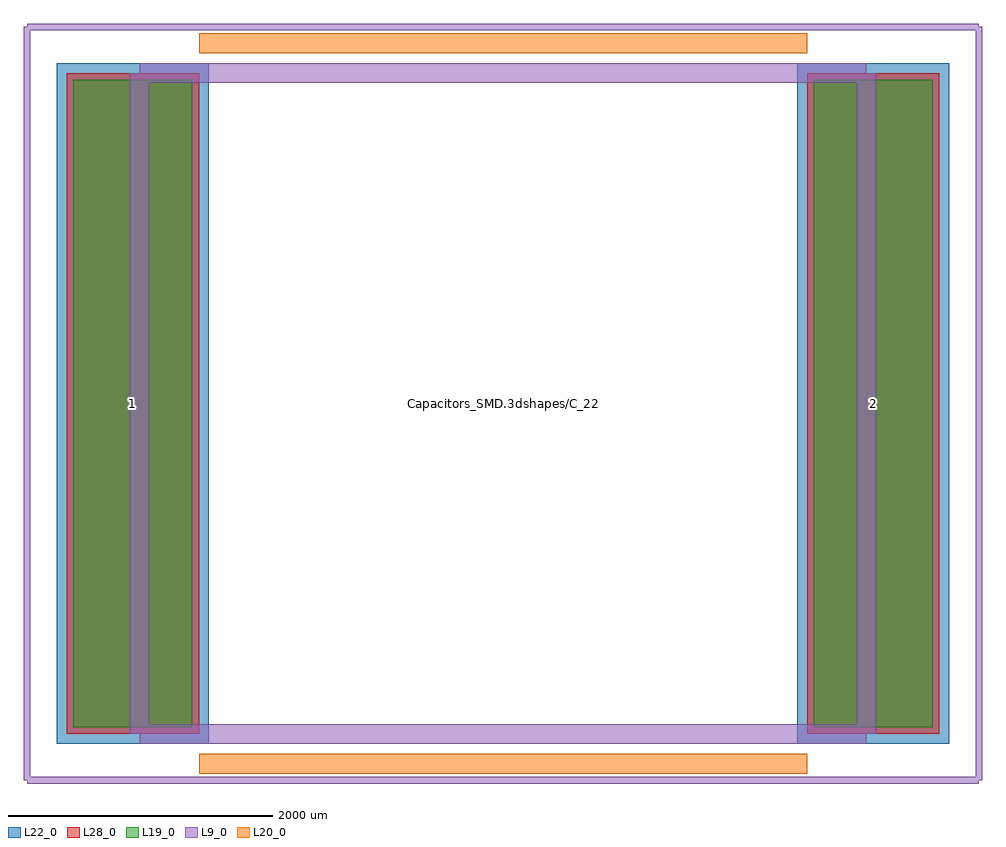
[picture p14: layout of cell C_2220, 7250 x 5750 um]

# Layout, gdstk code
import gdstk
lib = gdstk.Library(unit=1e-6, precision=1e-09)
def R(c, l, rs):  # rectangles x0, y0, x1, y1
    for r in rs: c.add(gdstk.rectangle(r[:2], r[2:], *l))
L9_0 = (9, 0)
L19_0 = (19, 0)
L20_0 = (20, 0)
L22_0 = (22, 0)
L28_0 = (28, 0)

c_2220 = lib.new_cell('C_2220')
R(c_2220, L19_0, [(-3250,-2450,-2350,2450), (2350,-2450,3250,2450)])
R(c_2220, L22_0, [(-3375,-2575,-2225,2575), (2225,-2575,3375,2575)])
R(c_2220, L28_0, [(-3300,-2500,-2300,2500), (2300,-2500,3300,2500)])
c_2220.add(gdstk.FlexPath([(-2300,-2725),(2300,-2725)], 149.998, ends="flush", simple_path=True, layer=20, datatype=0))  # L20_0
c_2220.add(gdstk.FlexPath([(2300,2725),(-2300,2725)], 149.998, ends="flush", simple_path=True, layer=20, datatype=0))  # L20_0
c_2220.add(gdstk.FlexPath([(3600,2850),(3600,-2850)], 50, ends="flush", simple_path=True, layer=9, datatype=0))  # L9_0
c_2220.add(gdstk.FlexPath([(-3600,2850),(-3600,-2850)], 50, ends="flush", simple_path=True, layer=9, datatype=0))  # L9_0
c_2220.add(gdstk.FlexPath([(-3600,-2850),(3600,-2850)], 50, ends="flush", simple_path=True, layer=9, datatype=0))  # L9_0
c_2220.add(gdstk.FlexPath([(-3600,2850),(3600,2850)], 50, ends="flush", simple_path=True, layer=9, datatype=0))  # L9_0
c_2220.add(gdstk.FlexPath([(-2750,2500),(2750,2500)], 149.998, ends="flush", simple_path=True, layer=9, datatype=0))  # L9_0
c_2220.add(gdstk.FlexPath([(2750,2500),(2750,-2500)], 149.998, ends="flush", simple_path=True, layer=9, datatype=0))  # L9_0
c_2220.add(gdstk.FlexPath([(2750,-2500),(-2750,-2500)], 149.998, ends="flush", simple_path=True, layer=9, datatype=0))  # L9_0
c_2220.add(gdstk.FlexPath([(-2750,-2500),(-2750,2500)], 149.998, ends="flush", simple_path=True, layer=9, datatype=0))  # L9_0
c_2220.add(gdstk.Label('Capacitors_SMD.3dshapes/C_2220.wrl', (0,0), layer=12, texttype=0))
c_2220.add(gdstk.Label('2', (2800,0), layer=28, texttype=0))
c_2220.add(gdstk.Label('1', (-2800,0), layer=28, texttype=0))
c_2220.add(gdstk.Label('type', (0,-4000), layer=9, texttype=0))
c_2220.add(gdstk.Label('devicename', (0,4000), layer=9, texttype=0))

lib.write_gds('C_2220.gds')
